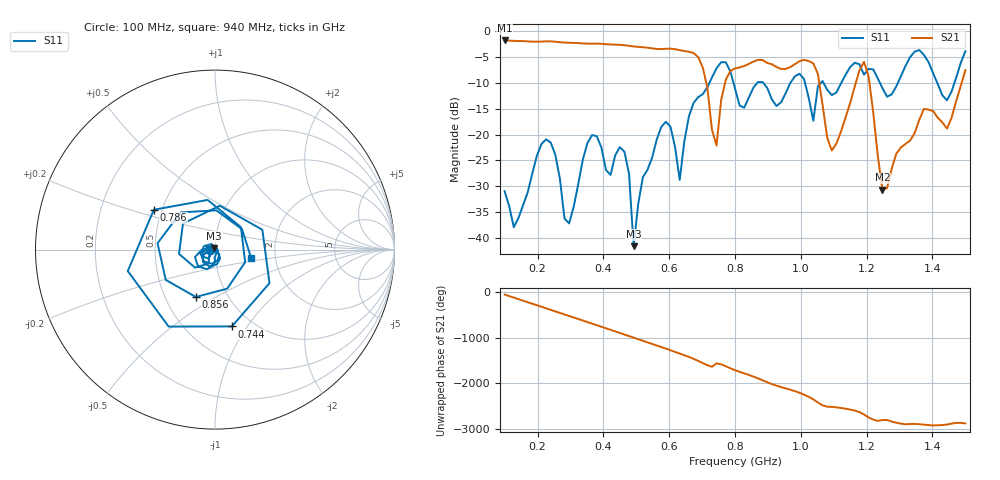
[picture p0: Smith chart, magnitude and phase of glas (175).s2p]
! NanoVNA-App
! Date: 2025-09-25 15:56:50
! Start: 100MHz Stop: 1,5GHz Points: 101
! S-Parameter data: F S11 S21 S12 S22
# Hz S RI R 50
!  Frequency  S11_Real  S11_Imag  S21_Real  S21_Imag  S12_Real  S12_Imag  S22_Real  S22_Imag
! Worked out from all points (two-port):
!   101 points, 100 MHz to 1.5 GHz, reference 50 ohm
!   highest |S21| = -1.80 dB at 100 MHz (marker M1); lowest = -30.7 dB at 1.248 GHz (marker M2)
!   |S21| within 3 dB of the highest: start of sweep to 684.2 MHz
!   lowest |S11| = -41.6 dB at 492 MHz (marker M3), VSWR 1.02, Z = 49.5 + j0.634 ohm
!   |S11| at or under -10 dB: start of sweep to 722.4 MHz; 795.4 MHz to 867.9 MHz (72.49 MHz wide, 8.72 % of centre); 885.9 MHz to 968.2 MHz (82.27 MHz wide, 8.87 % of centre)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
!   S12 and S22 are empty: the file has one direction only
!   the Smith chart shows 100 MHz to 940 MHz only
!   S11 on the Smith chart (normalised r, x): 100 MHz: 0.95, -0.01; 744 MHz: 0.80, -0.85; 786 MHz: 0.45, +0.24; 856 MHz: 0.71, -0.41; 940 MHz: 1.49, -0.14
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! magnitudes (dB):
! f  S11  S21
! 100 MHz  -31.0  -1.8
! 128 MHz  -37.9  -1.9
! 226 MHz  -20.9  -2.0
! 296 MHz  -37.2  -2.2
! 338 MHz  -24.7  -2.4
! 464 MHz  -23.3  -2.7
! 492 MHz  -41.6  -3.0
! 576 MHz  -18.5  -3.5
! 632 MHz  -28.8  -3.7
! 702 MHz  -12.2  -7.0
! 744 MHz  -7.2  -22.1
! 786 MHz  -7.8  -7.7
! 800 MHz  -11.1  -7.2
! 856 MHz  -10.9  -5.9
! 940 MHz  -13.8  -7.3
! 996 MHz  -8.2  -5.8
! 1.038 GHz  -17.3  -6.2
! 1.094 GHz  -12.4  -23.1
! 1.192 GHz  -8.4  -5.9
! 1.248 GHz  -11.0  -30.7
! 1.276 GHz  -12.2  -26.6
! 1.5 GHz  -3.9  -7.5
